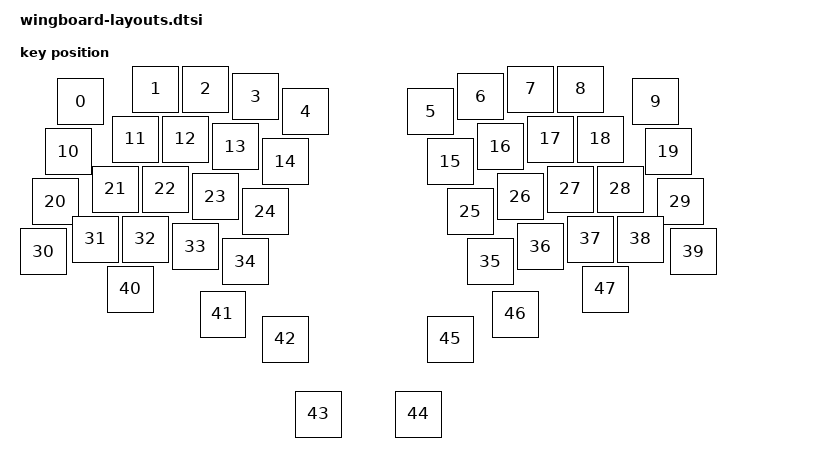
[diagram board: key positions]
#include <physical_layouts.dtsi>

/ {
    physical_layout0: physical_layout_0 {
        compatible = "zmk,physical-layout";
        display-name = "Default";

        keys  //                     w   h    x    y     rot    rx    ry
            = <&key_physical_attrs 100 100  100   25       0     0     0>
            , <&key_physical_attrs 100 100  250    0       0     0     0>
            , <&key_physical_attrs 100 100  350    0       0     0     0>
            , <&key_physical_attrs 100 100  450   15       0     0     0>
            , <&key_physical_attrs 100 100  550   45       0     0     0>
            , <&key_physical_attrs 100 100  800   45       0     0     0>
            , <&key_physical_attrs 100 100  900   15       0     0     0>
            , <&key_physical_attrs 100 100 1000    0       0     0     0>
            , <&key_physical_attrs 100 100 1100    0       0     0     0>
            , <&key_physical_attrs 100 100 1250   25       0     0     0>
            , <&key_physical_attrs 100 100   75  125       0     0     0>
            , <&key_physical_attrs 100 100  210  100       0     0     0>
            , <&key_physical_attrs 100 100  310  100       0     0     0>
            , <&key_physical_attrs 100 100  410  115       0     0     0>
            , <&key_physical_attrs 100 100  510  145       0     0     0>
            , <&key_physical_attrs 100 100  840  145       0     0     0>
            , <&key_physical_attrs 100 100  940  115       0     0     0>
            , <&key_physical_attrs 100 100 1040  100       0     0     0>
            , <&key_physical_attrs 100 100 1140  100       0     0     0>
            , <&key_physical_attrs 100 100 1275  125       0     0     0>
            , <&key_physical_attrs 100 100   50  225       0     0     0>
            , <&key_physical_attrs 100 100  170  200       0     0     0>
            , <&key_physical_attrs 100 100  270  200       0     0     0>
            , <&key_physical_attrs 100 100  370  215       0     0     0>
            , <&key_physical_attrs 100 100  470  245       0     0     0>
            , <&key_physical_attrs 100 100  880  245       0     0     0>
            , <&key_physical_attrs 100 100  980  215       0     0     0>
            , <&key_physical_attrs 100 100 1080  200       0     0     0>
            , <&key_physical_attrs 100 100 1180  200       0     0     0>
            , <&key_physical_attrs 100 100 1300  225       0     0     0>
            , <&key_physical_attrs 100 100   25  325       0     0     0>
            , <&key_physical_attrs 100 100  130  300       0     0     0>
            , <&key_physical_attrs 100 100  230  300       0     0     0>
            , <&key_physical_attrs 100 100  330  315       0     0     0>
            , <&key_physical_attrs 100 100  430  345       0     0     0>
            , <&key_physical_attrs 100 100  920  345       0     0     0>
            , <&key_physical_attrs 100 100 1020  315       0     0     0>
            , <&key_physical_attrs 100 100 1120  300       0     0     0>
            , <&key_physical_attrs 100 100 1220  300       0     0     0>
            , <&key_physical_attrs 100 100 1325  325       0     0     0>
            , <&key_physical_attrs 100 100  200  400       0     0     0>
            , <&key_physical_attrs 100 100  385  450       0     0     0>
            , <&key_physical_attrs 100 100  510  500       0     0     0>
            , <&key_physical_attrs 100 100  575  650       0     0     0>
            , <&key_physical_attrs 100 100  775  650       0     0     0>
            , <&key_physical_attrs 100 100  840  500       0     0     0>
            , <&key_physical_attrs 100 100  970  450       0     0     0>
            , <&key_physical_attrs 100 100 1150  400       0     0     0>
            ;
    };
};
